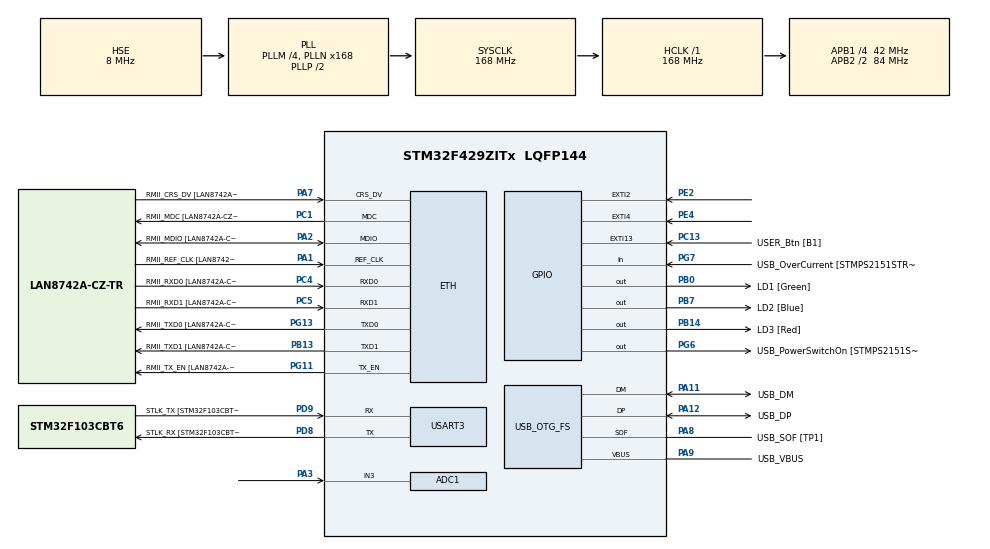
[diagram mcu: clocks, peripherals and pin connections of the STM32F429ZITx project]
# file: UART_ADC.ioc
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ADC1.Channel-0\#ChannelRegularConversion=ADC_CHANNEL_3
ADC1.NbrOfConversionFlag=1
ADC1.Rank-0\#ChannelRegularConversion=1
ADC1.SamplingTime-0\#ChannelRegularConversion=ADC_SAMPLETIME_3CYCLES
ADC1.master=1
ETH.MediaInterface=HAL_ETH_RMII_MODE
ETH.PHY_Name=LAN8742A_PHY_ADDRESS
ETH.PHY_Value=0
ETH.PhyAddress=0
Mcu.Family=STM32F4
Mcu.Name=STM32F429ZITx
Mcu.Package=LQFP144
NVIC.ADC_IRQn=true\:0\:0\:false\:true\:true\:3\:true\:true\:true
NVIC.EXTI2_IRQn=true\:0\:0\:false\:true\:true\:1\:true\:true\:true
NVIC.EXTI4_IRQn=true\:0\:0\:false\:true\:true\:2\:true\:true\:true
NVIC.PriorityGroup=NVIC_PRIORITYGROUP_4
NVIC.USART3_IRQn=true\:0\:0\:false\:false\:true\:true\:true\:true
PA1.GPIO_Label=RMII_REF_CLK [LAN8742A-CZ-TR_REFCLK0]
PA1.Mode=RMII
PA1.Signal=ETH_REF_CLK
PA10.GPIO_Label=USB_ID
PA10.Signal=USB_OTG_FS_ID
PA11.GPIO_Label=USB_DM
PA11.Mode=Device_Only
PA11.Signal=USB_OTG_FS_DM
PA12.GPIO_Label=USB_DP
PA12.Mode=Device_Only
PA12.Signal=USB_OTG_FS_DP
PA13.GPIO_Label=TMS
PA13.Mode=Serial_Wire
PA13.Signal=SYS_JTMS-SWDIO
PA14.GPIO_Label=TCK
PA14.Mode=Serial_Wire
PA14.Signal=SYS_JTCK-SWCLK
PA2.GPIO_Label=RMII_MDIO [LAN8742A-CZ-TR_MDIO]
PA2.Mode=RMII
PA2.Signal=ETH_MDIO
PA3.Signal=ADCx_IN3
PA7.GPIO_Label=RMII_CRS_DV [LAN8742A-CZ-TR_CRS_DV]
PA7.Mode=RMII
PA7.Signal=ETH_CRS_DV
PA8.GPIO_Label=USB_SOF [TP1]
PA8.Mode=Activate_SOF_FS
PA8.Signal=USB_OTG_FS_SOF
PA9.GPIO_Label=USB_VBUS
PA9.Mode=Activate_VBUS
PA9.Signal=USB_OTG_FS_VBUS
PB0.GPIO_Label=LD1 [Green]
PB0.Signal=GPIO_Output
PB13.GPIO_Label=RMII_TXD1 [LAN8742A-CZ-TR_TXD1]
PB13.Mode=RMII
PB13.Signal=ETH_TXD1
PB14.GPIO_Label=LD3 [Red]
PB14.Signal=GPIO_Output
PB7.GPIO_Label=LD2 [Blue]
PB7.Signal=GPIO_Output
PC1.GPIO_Label=RMII_MDC [LAN8742A-CZ-TR_MDC]
PC1.Mode=RMII
PC1.Signal=ETH_MDC
PC13.GPIO_Label=USER_Btn [B1]
PC13.Signal=GPXTI13
PC14/OSC32_IN.Mode=LSE-External-Oscillator
PC14/OSC32_IN.Signal=RCC_OSC32_IN
PC15/OSC32_OUT.Mode=LSE-External-Oscillator
PC15/OSC32_OUT.Signal=RCC_OSC32_OUT
PC4.GPIO_Label=RMII_RXD0 [LAN8742A-CZ-TR_RXD0]
PC4.Mode=RMII
PC4.Signal=ETH_RXD0
PC5.GPIO_Label=RMII_RXD1 [LAN8742A-CZ-TR_RXD1]
PC5.Mode=RMII
PC5.Signal=ETH_RXD1
PD8.GPIO_Label=STLK_RX [STM32F103CBT6_PA3]
PD8.Mode=Asynchronous
PD8.Signal=USART3_TX
PD9.GPIO_Label=STLK_TX [STM32F103CBT6_PA2]
PD9.Mode=Asynchronous
PD9.Signal=USART3_RX
PE2.GPIO_PuPd=GPIO_PULLUP
PE2.Signal=GPXTI2
PE4.GPIO_PuPd=GPIO_PULLUP
PE4.Signal=GPXTI4
PG11.GPIO_Label=RMII_TX_EN [LAN8742A-CZ-TR_TXEN]
PG11.Mode=RMII
PG11.Signal=ETH_TX_EN
PG13.GPIO_Label=RMII_TXD0 [LAN8742A-CZ-TR_TXD0]
PG13.Mode=RMII
PG13.Signal=ETH_TXD0
PG6.GPIO_Label=USB_PowerSwitchOn [STMPS2151STR_EN]
PG6.Signal=GPIO_Output
PG7.GPIO_Label=USB_OverCurrent [STMPS2151STR_FAULT]
PG7.Signal=GPIO_Input
PH0/OSC_IN.GPIO_Label=MCO [STM32F103CBT6_PA8]
PH0/OSC_IN.Mode=HSE-External-Clock-Source
PH0/OSC_IN.Signal=RCC_OSC_IN
PH1/OSC_OUT.Mode=HSE-External-Clock-Source
PH1/OSC_OUT.Signal=RCC_OSC_OUT
ProjectManager.HeapSize=0x200
ProjectManager.StackSize=0x400
ProjectManager.TargetToolchain=STM32CubeIDE
RCC.48MHZClocksFreq_Value=48000000
RCC.AHBFreq_Value=168000000
RCC.APB1CLKDivider=RCC_HCLK_DIV4
RCC.APB1Freq_Value=42000000
RCC.APB1TimFreq_Value=84000000
RCC.APB2CLKDivider=RCC_HCLK_DIV2
RCC.APB2Freq_Value=84000000
RCC.APB2TimCLKDivider=2
RCC.APB2TimFreq_Value=168000000
RCC.CortexFreq_Value=168000000
RCC.HCLKFreq_Value=168000000
RCC.HSE_VALUE=8000000
RCC.HSI_VALUE=16000000
RCC.PLLM=4
RCC.PLLMUL=RCC_PLL_MUL9
RCC.PLLN=168
RCC.PLLQ=7
RCC.PRESCALERUSB=RCC_USBCLKSOURCE_PLL_DIV1_5
RCC.SYSCLKFreq_VALUE=168000000
RCC.SYSCLKSource=RCC_SYSCLKSOURCE_PLLCLK
RCC.SYSCLKSourceVirtual=RCC_SYSCLKSOURCE_PLLCLK
RCC.USBFreq_Value=48000000
RCC.VCOOutputFreq_Value=336000000
SH.ADCx_IN3.0=ADC1_IN3,IN3
USART3.VirtualMode=VM_ASYNC
USB_OTG_FS.VirtualMode=Device_Only
board=NUCLEO-F429ZI

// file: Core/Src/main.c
/* USER CODE BEGIN Header */
/**
  ******************************************************************************
  * @file           : main.c
  * @brief          : Main program body
  ******************************************************************************
  * @attention
  *
  * Copyright (c) 2023 STMicroelectronics.
  * All rights reserved.
  *
  * This software is licensed under terms that can be found in the LICENSE file
  * in the root directory of this software component.
  * If no LICENSE file comes with this software, it is provided AS-IS.
  *
  ******************************************************************************
  */
/* USER CODE END Header */
#include "main.h"
#include "string.h"

ETH_TxPacketConfig TxConfig;
ETH_DMADescTypeDef  DMARxDscrTab[ETH_RX_DESC_CNT]; /* Ethernet Rx DMA Descriptors */
ETH_DMADescTypeDef  DMATxDscrTab[ETH_TX_DESC_CNT]; /* Ethernet Tx DMA Descriptors */

ADC_HandleTypeDef hadc1;

ETH_HandleTypeDef heth;

UART_HandleTypeDef huart3;

PCD_HandleTypeDef hpcd_USB_OTG_FS;

void SystemClock_Config(void);
static void MX_GPIO_Init(void);
static void MX_ETH_Init(void);
static void MX_USART3_UART_Init(void);
static void MX_USB_OTG_FS_PCD_Init(void);
static void MX_ADC1_Init(void);
static void MX_NVIC_Init(void);
/* USER CODE BEGIN PFP */
int _write(int file, char *ptr, int len) {
	HAL_UART_Transmit(&huart3, (uint8_t *)ptr, len, 500);
	return len;
}

int __io_putchar(int ch) {
	HAL_UART_Transmit(&huart3, (uint8_t *)&ch, 1, 1000);
	return ch;
}

/* USER CODE END PFP */

/* USER CODE BEGIN 0 */
int count = 0;
uint32_t current_tick_1;
uint32_t current_tick_2;
uint32_t old_tick_1;
uint32_t old_tick_2;

char uart_buf[30];
int adc_value;

void HAL_GPIO_EXTI_Callback(uint16_t GPIO_Pin) {
	if (GPIO_Pin == GPIO_PIN_2) {
		current_tick_1 = HAL_GetTick();
	}
	if (GPIO_Pin == GPIO_PIN_4) {
		current_tick_2 = HAL_GetTick();
	}

	if (GPIO_Pin == GPIO_PIN_2 && (current_tick_1 - old_tick_1 > 300)) {
			count++;
			old_tick_1 = current_tick_1;
	}
	if (GPIO_Pin == GPIO_PIN_4 && (current_tick_2 - old_tick_2 > 300)) {
		count--;
		old_tick_2 = current_tick_2;
	}
}

/* USER CODE END 0 */

int main(void)
{

  /* MCU Configuration--------------------------------------------------------*/

  /* Reset of all peripherals, Initializes the Flash interface and the Systick. */
  HAL_Init();

  /* Configure the system clock */
  SystemClock_Config();

  /* Initialize all configured peripherals */
  MX_GPIO_Init();
  MX_ETH_Init();
  MX_USART3_UART_Init();
  MX_USB_OTG_FS_PCD_Init();
  MX_ADC1_Init();

  /* Initialize interrupts */
  MX_NVIC_Init();

  /* Infinite loop */
  /* USER CODE BEGIN WHILE */
  while (1)
  {
	  HAL_ADC_Start(&hadc1);
	  HAL_ADC_PollForConversion(&hadc1, 10);
	  adc_value = HAL_ADC_GetValue(&hadc1);
	  HAL_ADC_Stop(&hadc1);

	  printf("count : %d, ADC : %d \r\n", count, adc_value);
	  HAL_UART_Transmit(&huart3, (uint8_t *)uart_buf, sizeof(uart_buf), 100);
	  HAL_Delay(1000);

	  if (adc_value <= 1000) {
		  HAL_GPIO_WritePin(GPIOB, LD1_Pin, 1);
		  HAL_GPIO_WritePin(GPIOB, LD2_Pin, 0);
		  HAL_GPIO_WritePin(GPIOB, LD3_Pin, 0);

	  }
	  else if (adc_value <= 2000) {
		  HAL_GPIO_WritePin(GPIOB, LD1_Pin, 0);
		  HAL_GPIO_WritePin(GPIOB, LD2_Pin, 1);
		  HAL_GPIO_WritePin(GPIOB, LD3_Pin, 0);

	  }
	  else {
		  HAL_GPIO_WritePin(GPIOB, LD1_Pin, 0);
		  HAL_GPIO_WritePin(GPIOB, LD2_Pin, 0);
		  HAL_GPIO_WritePin(GPIOB, LD3_Pin, 1);

	  }
    /* USER CODE END WHILE */

  }
}

void SystemClock_Config(void)
{
  RCC_OscInitTypeDef RCC_OscInitStruct = {0};
  RCC_ClkInitTypeDef RCC_ClkInitStruct = {0};

  /** Configure the main internal regulator output voltage
  */
  __HAL_RCC_PWR_CLK_ENABLE();
  __HAL_PWR_VOLTAGESCALING_CONFIG(PWR_REGULATOR_VOLTAGE_SCALE1);

  /** Initializes the RCC Oscillators according to the specified parameters
  * in the RCC_OscInitTypeDef structure.
  */
  RCC_OscInitStruct.OscillatorType = RCC_OSCILLATORTYPE_HSE;
  RCC_OscInitStruct.HSEState = RCC_HSE_BYPASS;
  RCC_OscInitStruct.PLL.PLLState = RCC_PLL_ON;
  RCC_OscInitStruct.PLL.PLLSource = RCC_PLLSOURCE_HSE;
  RCC_OscInitStruct.PLL.PLLM = 4;
  RCC_OscInitStruct.PLL.PLLN = 168;
  RCC_OscInitStruct.PLL.PLLP = RCC_PLLP_DIV2;
  RCC_OscInitStruct.PLL.PLLQ = 7;
  if (HAL_RCC_OscConfig(&RCC_OscInitStruct) != HAL_OK)
  {
    Error_Handler();
  }

  /** Initializes the CPU, AHB and APB buses clocks
  */
  RCC_ClkInitStruct.ClockType = RCC_CLOCKTYPE_HCLK|RCC_CLOCKTYPE_SYSCLK
                              |RCC_CLOCKTYPE_PCLK1|RCC_CLOCKTYPE_PCLK2;
  RCC_ClkInitStruct.SYSCLKSource = RCC_SYSCLKSOURCE_PLLCLK;
  RCC_ClkInitStruct.AHBCLKDivider = RCC_SYSCLK_DIV1;
  RCC_ClkInitStruct.APB1CLKDivider = RCC_HCLK_DIV4;
  RCC_ClkInitStruct.APB2CLKDivider = RCC_HCLK_DIV2;

  if (HAL_RCC_ClockConfig(&RCC_ClkInitStruct, FLASH_LATENCY_5) != HAL_OK)
  {
    Error_Handler();
  }
}

/**
  * @brief NVIC Configuration.
  * @retval None
  */
static void MX_NVIC_Init(void)
{
  /* EXTI2_IRQn interrupt configuration */
  HAL_NVIC_SetPriority(EXTI2_IRQn, 0, 0);
  HAL_NVIC_EnableIRQ(EXTI2_IRQn);
  /* EXTI4_IRQn interrupt configuration */
  HAL_NVIC_SetPriority(EXTI4_IRQn, 0, 0);
  HAL_NVIC_EnableIRQ(EXTI4_IRQn);
  /* ADC_IRQn interrupt configuration */
  HAL_NVIC_SetPriority(ADC_IRQn, 0, 0);
  HAL_NVIC_EnableIRQ(ADC_IRQn);
}

static void MX_ADC1_Init(void)
{

  ADC_ChannelConfTypeDef sConfig = {0};

  /** Configure the global features of the ADC (Clock, Resolution, Data Alignment and number of conversion)
  */
  hadc1.Instance = ADC1;
  hadc1.Init.ClockPrescaler = ADC_CLOCK_SYNC_PCLK_DIV4;
  hadc1.Init.Resolution = ADC_RESOLUTION_12B;
  hadc1.Init.ScanConvMode = DISABLE;
  hadc1.Init.ContinuousConvMode = DISABLE;
  hadc1.Init.DiscontinuousConvMode = DISABLE;
  hadc1.Init.ExternalTrigConvEdge = ADC_EXTERNALTRIGCONVEDGE_NONE;
  hadc1.Init.ExternalTrigConv = ADC_SOFTWARE_START;
  hadc1.Init.DataAlign = ADC_DATAALIGN_RIGHT;
  hadc1.Init.NbrOfConversion = 1;
  hadc1.Init.DMAContinuousRequests = DISABLE;
  hadc1.Init.EOCSelection = ADC_EOC_SINGLE_CONV;
  if (HAL_ADC_Init(&hadc1) != HAL_OK)
  {
    Error_Handler();
  }

  /** Configure for the selected ADC regular channel its corresponding rank in the sequencer and its sample time.
  */
  sConfig.Channel = ADC_CHANNEL_3;
  sConfig.Rank = 1;
  sConfig.SamplingTime = ADC_SAMPLETIME_3CYCLES;
  if (HAL_ADC_ConfigChannel(&hadc1, &sConfig) != HAL_OK)
  {
    Error_Handler();
  }

}

static void MX_ETH_Init(void)
{

   static uint8_t MACAddr[6];

  heth.Instance = ETH;
  MACAddr[0] = 0x00;
  MACAddr[1] = 0x80;
  MACAddr[2] = 0xE1;
  MACAddr[3] = 0x00;
  MACAddr[4] = 0x00;
  MACAddr[5] = 0x00;
  heth.Init.MACAddr = &MACAddr[0];
  heth.Init.MediaInterface = HAL_ETH_RMII_MODE;
  heth.Init.TxDesc = DMATxDscrTab;
  heth.Init.RxDesc = DMARxDscrTab;
  heth.Init.RxBuffLen = 1524;

  if (HAL_ETH_Init(&heth) != HAL_OK)
  {
    Error_Handler();
  }

  memset(&TxConfig, 0 , sizeof(ETH_TxPacketConfig));
  TxConfig.Attributes = ETH_TX_PACKETS_FEATURES_CSUM | ETH_TX_PACKETS_FEATURES_CRCPAD;
  TxConfig.ChecksumCtrl = ETH_CHECKSUM_IPHDR_PAYLOAD_INSERT_PHDR_CALC;
  TxConfig.CRCPadCtrl = ETH_CRC_PAD_INSERT;

}

static void MX_USART3_UART_Init(void)
{

  huart3.Instance = USART3;
  huart3.Init.BaudRate = 115200;
  huart3.Init.WordLength = UART_WORDLENGTH_8B;
  huart3.Init.StopBits = UART_STOPBITS_1;
  huart3.Init.Parity = UART_PARITY_NONE;
  huart3.Init.Mode = UART_MODE_TX_RX;
  huart3.Init.HwFlowCtl = UART_HWCONTROL_NONE;
  huart3.Init.OverSampling = UART_OVERSAMPLING_16;
  if (HAL_UART_Init(&huart3) != HAL_OK)
  {
    Error_Handler();
  }

}

static void MX_USB_OTG_FS_PCD_Init(void)
{

  hpcd_USB_OTG_FS.Instance = USB_OTG_FS;
  hpcd_USB_OTG_FS.Init.dev_endpoints = 4;
  hpcd_USB_OTG_FS.Init.speed = PCD_SPEED_FULL;
  hpcd_USB_OTG_FS.Init.dma_enable = DISABLE;
  hpcd_USB_OTG_FS.Init.phy_itface = PCD_PHY_EMBEDDED;
  hpcd_USB_OTG_FS.Init.Sof_enable = ENABLE;
  hpcd_USB_OTG_FS.Init.low_power_enable = DISABLE;
  hpcd_USB_OTG_FS.Init.lpm_enable = DISABLE;
  hpcd_USB_OTG_FS.Init.vbus_sensing_enable = ENABLE;
  hpcd_USB_OTG_FS.Init.use_dedicated_ep1 = DISABLE;
  if (HAL_PCD_Init(&hpcd_USB_OTG_FS) != HAL_OK)
  {
    Error_Handler();
  }

}

static void MX_GPIO_Init(void)
{
  GPIO_InitTypeDef GPIO_InitStruct = {0};

  /* GPIO Ports Clock Enable */
  __HAL_RCC_GPIOE_CLK_ENABLE();
  __HAL_RCC_GPIOC_CLK_ENABLE();
  __HAL_RCC_GPIOH_CLK_ENABLE();
  __HAL_RCC_GPIOA_CLK_ENABLE();
  __HAL_RCC_GPIOB_CLK_ENABLE();
  __HAL_RCC_GPIOD_CLK_ENABLE();
  __HAL_RCC_GPIOG_CLK_ENABLE();

  /*Configure GPIO pin Output Level */
  HAL_GPIO_WritePin(GPIOB, LD1_Pin|LD3_Pin|LD2_Pin, GPIO_PIN_RESET);

  /*Configure GPIO pin Output Level */
  HAL_GPIO_WritePin(USB_PowerSwitchOn_GPIO_Port, USB_PowerSwitchOn_Pin, GPIO_PIN_RESET);

  /*Configure GPIO pins : PE2 PE4 */
  GPIO_InitStruct.Pin = GPIO_PIN_2|GPIO_PIN_4;
  GPIO_InitStruct.Mode = GPIO_MODE_IT_RISING;
  GPIO_InitStruct.Pull = GPIO_PULLUP;
  HAL_GPIO_Init(GPIOE, &GPIO_InitStruct);

  /*Configure GPIO pin : USER_Btn_Pin */
  GPIO_InitStruct.Pin = USER_Btn_Pin;
  GPIO_InitStruct.Mode = GPIO_MODE_IT_RISING;
  GPIO_InitStruct.Pull = GPIO_NOPULL;
  HAL_GPIO_Init(USER_Btn_GPIO_Port, &GPIO_InitStruct);

  /*Configure GPIO pins : LD1_Pin LD3_Pin LD2_Pin */
  GPIO_InitStruct.Pin = LD1_Pin|LD3_Pin|LD2_Pin;
  GPIO_InitStruct.Mode = GPIO_MODE_OUTPUT_PP;
  GPIO_InitStruct.Pull = GPIO_NOPULL;
  GPIO_InitStruct.Speed = GPIO_SPEED_FREQ_LOW;
  HAL_GPIO_Init(GPIOB, &GPIO_InitStruct);

  /*Configure GPIO pin : USB_PowerSwitchOn_Pin */
  GPIO_InitStruct.Pin = USB_PowerSwitchOn_Pin;
  GPIO_InitStruct.Mode = GPIO_MODE_OUTPUT_PP;
  GPIO_InitStruct.Pull = GPIO_NOPULL;
  GPIO_InitStruct.Speed = GPIO_SPEED_FREQ_LOW;
  HAL_GPIO_Init(USB_PowerSwitchOn_GPIO_Port, &GPIO_InitStruct);

  /*Configure GPIO pin : USB_OverCurrent_Pin */
  GPIO_InitStruct.Pin = USB_OverCurrent_Pin;
  GPIO_InitStruct.Mode = GPIO_MODE_INPUT;
  GPIO_InitStruct.Pull = GPIO_NOPULL;
  HAL_GPIO_Init(USB_OverCurrent_GPIO_Port, &GPIO_InitStruct);

}

void Error_Handler(void)
{
  __disable_irq();
  while (1)
  {
  }
}
